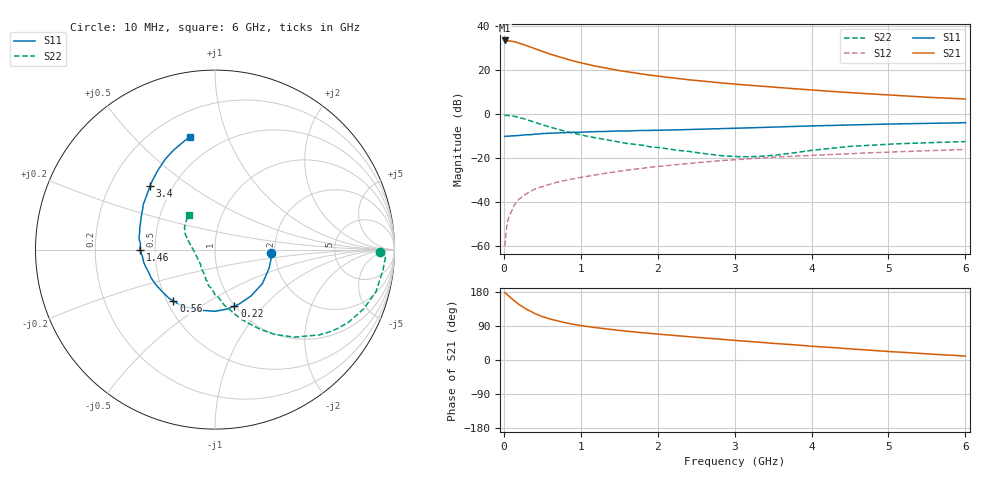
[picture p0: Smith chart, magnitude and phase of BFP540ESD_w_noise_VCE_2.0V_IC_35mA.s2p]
! Infineon Technologies  Discrete & RF Semiconductors
! BFP540ESD
! VCE =  2.0 V,  IC =  35 mA
! Common Emitter S-Parameters:  Nov 2015
# GHz  S  MA  R  50
!  f  S11  S21  S12  S22
! GHz  MAG  ANG  MAG  ANG  MAG  ANG  MAG  ANG
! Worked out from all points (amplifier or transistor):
!   210 points, 10 MHz to 6 GHz, reference 50 ohm
!   highest |S21| = 33.6 dB at 10 MHz (marker M1)
!   |S21| within 3 dB of that: start of sweep to 345.8 MHz
!   unconditionally stable (mu >= 1): start of sweep to 15.48 MHz; 1.679 GHz to end of sweep
!   at 185 MHz: K = 0.29, MSG = 35.8 dB, |S12| = -39.1 dB
!   at 1.52 GHz: K = 0.97, MSG = 22.8 dB, |S12| = -25.8 dB
!   at 6 GHz: K = 1.11, MAG = 9.5 dB, |S12| = -16.0 dB
!   lowest NFmin = 1.52 dB at 900 MHz
!   S11 on the Smith chart (normalised r, x): 10 MHz: 1.91, -0.08; 220 MHz: 0.99, -0.70; 560 MHz: 0.54, -0.36; 1.46 GHz: 0.41, -0.00; 3.4 GHz: 0.38, +0.36; 6 GHz: 0.35, +0.74
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0.01  0.3145 -3.6  47.84 178.0  0.001 108.5  0.9197 -1.0
0.02  0.3166 -8.0  47.52 176.7  0.0013 86.4  0.9521 -1.9
0.05  0.3188 -18.6  47.44 171.0  0.0038 79.8  0.9435 -6.7
0.1  0.3249 -35.6  46.2 162.2  0.0062 84.1  0.9272 -14.6
0.14  0.3245 -48.7  44.58 155.5  0.0088 78.6  0.898 -20.2
0.2  0.3318 -66.0  41.74 146.2  0.0118 74.3  0.8478 -28.4
0.22  0.3326 -71.1  40.59 143.6  0.0126 73.3  0.8284 -30.6
0.26  0.3386 -80.8  38.47 138.1  0.0142 71.2  0.791 -35.2
0.3  0.3436 -90.0  36.32 133.1  0.0158 68.0  0.7505 -39.3
0.4  0.3531 -107.8  31.24 122.8  0.0198 65.4  0.6586 -47.8
0.5  0.3651 -122.4  27.04 114.5  0.0226 64.2  0.5776 -54.9
0.56  0.3682 -129.1  24.84 110.9  0.0245 62.8  0.537 -58.0
0.7  0.3763 -142.0  20.69 102.8  0.0287 63.6  0.4573 -65.0
0.8  0.3834 -149.7  18.31 98.1  0.0315 63.0  0.4103 -69.7
1.02  0.3927 -162.7  14.56 90.3  0.0373 62.4  0.3342 -77.4
1.46  0.416 -179.9  10.19 79.0  0.0495 60.0  0.2406 -91.3
2.02  0.4353 164.5  7.309 68.0  0.0652 56.9  0.175 -106.8
3.1  0.4864 141.4  4.712 50.4  0.095 47.8  0.1085 -150.9
3.4  0.5059 135.7  4.276 45.7  0.1031 44.7  0.1124 -168.9
4.1  0.5496 124.4  3.475 35.1  0.1185 38.0  0.1577 161.2
5.1  0.6039 111.6  2.69 21.3  0.14 28.4  0.2129 142.2
6  0.6428 102.7  2.225 10.3  0.1588 21.2  0.2393 126.7
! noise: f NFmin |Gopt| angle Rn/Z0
0.9  1.52  0.41  -139  0.13
1.8  1.66  0.44  -142  0.13
2.4  1.7  0.44  -132  0.15
3  1.82  0.46  -125  0.19
4  1.87  0.55  -103  0.33
5  2.01  0.6  -88  0.51
6  2.34  0.59  -85  0.77
